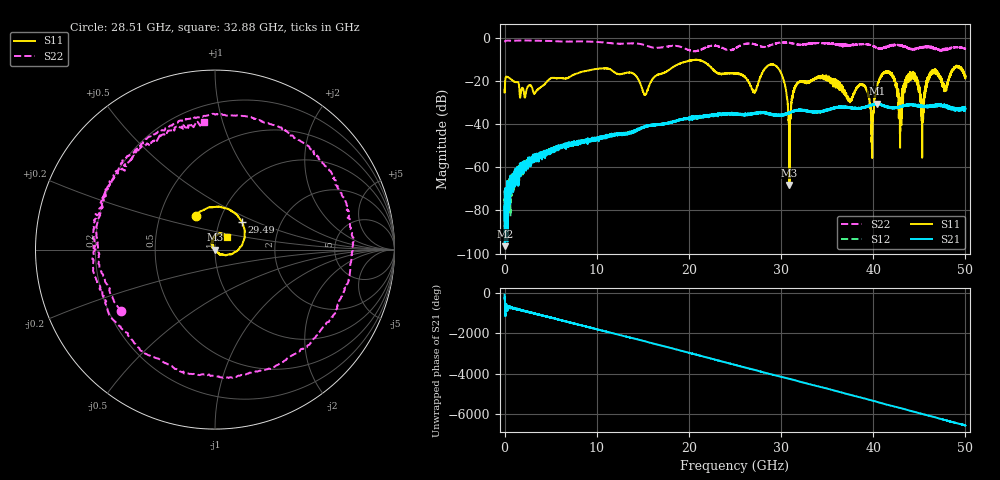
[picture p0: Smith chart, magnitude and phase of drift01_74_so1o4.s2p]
!Created with skrf (http://scikit-rf.org).
# Hz S RI R 50.0
!freq ReS11 ImS11 ReS21 ImS21 ReS12 ImS12 ReS22 ImS22
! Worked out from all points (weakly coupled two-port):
!   10001 points, 300 kHz to 50 GHz, reference 50 ohm
!   highest |S21| = -30.53 dB at 40.39 GHz (marker M1); lowest = -96.6 dB at 20.3 MHz (marker M2)
!   lowest |S11| = -68.3 dB at 30.91 GHz (marker M3), VSWR 1.00, Z = 50 - j0.0282 ohm
!   |S11| at or under -10 dB: start of sweep to end of sweep
!   |S22| runs from -6.4 to -1.3 dB; largest |S21 - S12| = 0.0051
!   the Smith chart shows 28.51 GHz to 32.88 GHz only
!   S11 on the Smith chart (normalised r, x): 28.51 GHz: 0.76, +0.30; 29.49 GHz: 1.28, +0.42; 32.88 GHz: 1.13, +0.15
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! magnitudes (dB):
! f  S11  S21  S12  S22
! 300 kHz  -24.2  -84.5  -72.2  -2.1
! 20.3 MHz  -23.8  -96.6  -72.2  -1.9
! 1.985 GHz  -23.4  -59.7  -59.5  -1.4
! 8.335 GHz  -15.9  -48.4  -48.2  -1.8
! 15.23 GHz  -26.5  -41.1  -41.1  -3.5
! 16.67 GHz  -17.1  -40.4  -40.1  -4.8
! 25 GHz  -16.5  -35.2  -35.1  -5.0
! 27.09 GHz  -24.9  -35.1  -35.2  -3.0
! 28.51 GHz  -13.3  -35.1  -35.1  -4.1
! 29.49 GHz  -13.3  -35.9  -35.9  -2.6
! 30.91 GHz  -68.3  -35.0  -34.8  -2.5
! 32.88 GHz  -20.5  -34.1  -34.1  -3.0
! 33.34 GHz  -19.7  -34.3  -34.5  -2.6
! 38.91 GHz  -22.0  -32.4  -32.5  -3.1
! 39.86 GHz  -51.4  -31.1  -31.1  -3.6
! 40.39 GHz  -23.5  -30.5  -30.7  -4.8
! 41.67 GHz  -15.6  -32.3  -32.3  -3.9
! 42.99 GHz  -31.6  -31.9  -32.0  -3.5
! 44.05 GHz  -18.1  -31.2  -31.4  -5.2
! 45.31 GHz  -55.6  -31.8  -32.0  -4.3
! 46.42 GHz  -15.2  -31.5  -31.7  -4.8
! 50 GHz  -17.7  -33.0  -32.8  -5.3
